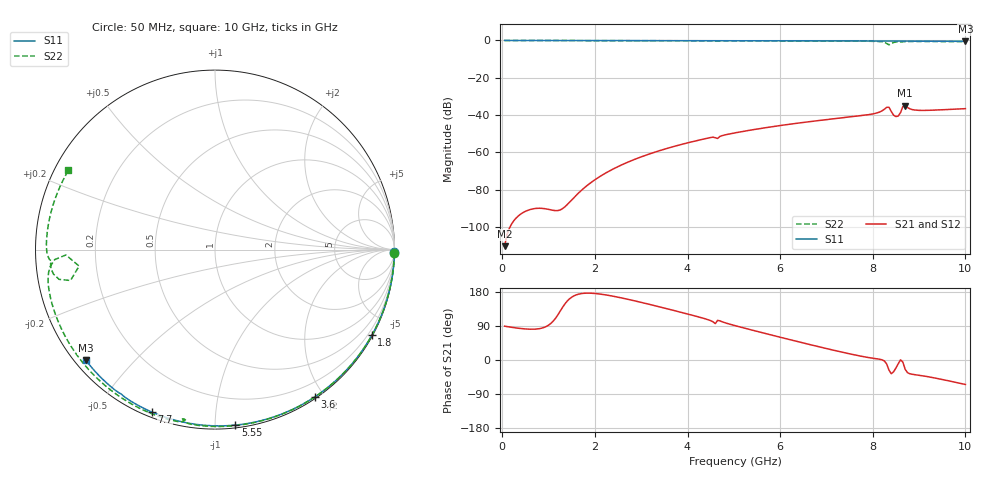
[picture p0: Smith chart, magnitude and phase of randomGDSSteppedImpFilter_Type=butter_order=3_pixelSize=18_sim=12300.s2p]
! freq	dB(S11)	phase(S11)	dB(S12)	phase(S12)
!  dB(S21)	phase(S21)	dB(S22)	phase(S22)
!S-par simulation data
#  GHz  S  DB  R 50
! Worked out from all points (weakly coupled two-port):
!   200 points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, 50 MHz to 10 GHz, reference 50 ohm
!   highest |S21| = -34.94 dB at 8.7 GHz (marker M1); lowest = -110.2 dB at 50 MHz (marker M2)
!   lowest |S11| = -0.5 dB at 10 GHz (marker M3), VSWR 36.95, Z = 1.54 - j18.5 ohm
!   |S11| at or under -10 dB: nowhere
!   |S22| runs from -2.4 to 0.0 dB; largest |S21 - S12| = 0
!   S11 on the Smith chart (normalised r, x): 50 MHz: open; 1.8 GHz: 0.03, -3.91; 3.6 GHz: 0.02, -1.88; 5.55 GHz: 0.02, -1.12; 7.7 GHz: 0.02, -0.68; 10 GHz: 0.03, -0.37
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0.05  -0.00 -0.8  -110.22 89.2  -110.22 89.2  -0.00 -1.2
0.85  -0.02 -13.7  -89.95 84.0  -89.95 84.0  -0.03 -19.6
1.75  -0.04 -27.9  -79.40 175.9  -79.40 175.9  -0.05 -40.0
1.8  -0.04 -28.7  -78.36 176.4  -78.36 176.4  -0.05 -41.1
2.45  -0.05 -38.7  -68.18 167.0  -68.18 167.0  -0.07 -55.3
3.4  -0.07 -53.0  -59.02 140.1  -59.02 140.1  -0.10 -75.5
3.6  -0.08 -55.9  -57.53 134.0  -57.53 134.0  -0.11 -79.6
4.65  -0.10 -71.0  -52.51 104.7  -52.51 104.7  -0.38 -99.5
5.05  -0.12 -76.6  -49.40 89.9  -49.40 89.9  -0.17 -108.3
5.55  -0.14 -83.4  -47.27 74.0  -47.27 74.0  -0.20 -118.1
6.7  -0.19 -98.6  -43.31 39.0  -43.31 39.0  -0.27 -140.4
7.7  -0.25 -111.2  -40.46 11.2  -40.46 11.2  -0.38 -160.6
8.2  -0.29 -117.5  -37.72 0.5  -37.72 0.5  -0.70 -174.2
8.3  -0.30 -118.7  -35.81 -10.4  -35.81 -10.4  -1.61 -177.9
8.35  -0.30 -119.3  -35.81 -26.6  -35.81 -26.6  -2.35 -173.1
8.4  -0.31 -119.9  -38.08 -36.3  -38.08 -36.3  -1.69 -167.9
8.5  -0.32 -121.2  -40.78 -21.2  -40.78 -21.2  -0.82 -171.4
8.55  -0.33 -121.8  -40.50 -9.9  -40.50 -9.9  -0.72 -173.4
8.65  -0.36 -122.9  -35.44 -5.6  -35.44 -5.6  -0.79 -176.0
8.7  -0.35 -123.5  -34.94 -24.7  -34.94 -24.7  -0.69 -176.6
9  -0.36 -127.2  -37.46 -40.2  -37.46 -40.2  -0.54 175.5
10  -0.47 -139.3  -36.54 -64.6  -36.54 -64.6  -0.64 151.7
